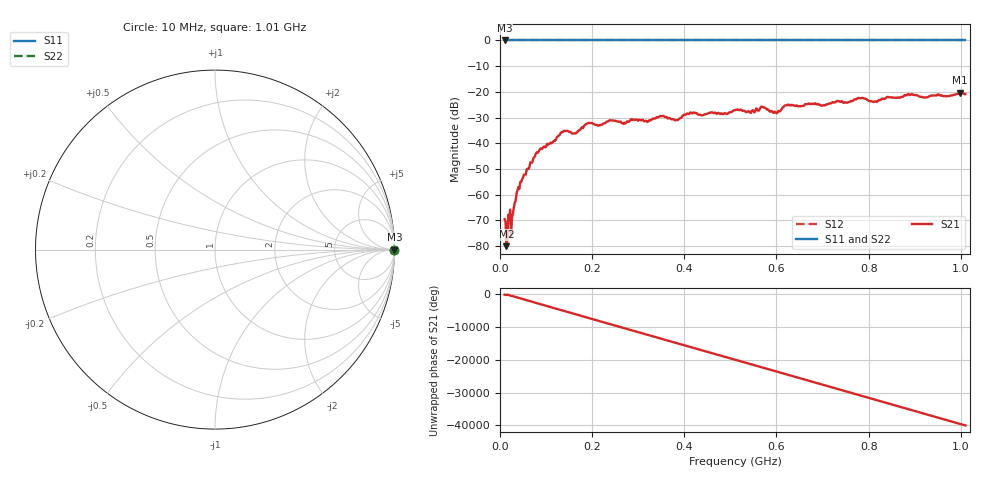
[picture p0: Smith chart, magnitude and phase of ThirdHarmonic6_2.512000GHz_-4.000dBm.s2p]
! 8/17/2025 4:53:15 AM
! C:\ANRITSUVNA\TEMP\TEMP.S2P
! CHANNEL.1
! TR.MEASUREMENT
! RAW.DATA
! RF.CORRECTION.OFF
! AVERAGING.OFF
! IF.BANDWIDTH: 5KHZ
! SWEEPTYPE:  FREQ.SWEEP(Linear)
! Reference Plane Port Info
! PORT:  PORT1  PORT2
! DISTANCE:  0  m  0  m
! TIME:  0  s  0  s
! PHASE.OFFSET:  0  deg.  0  deg.
! LOSS:  0  dB  0  dB
! REF.LOSS:  0  dB  0  dB
! REF.FREQ:  0  Hz  0  Hz
! Power Info
! POWER:  -20  dBm  -20  dBm
! EFF.POWER:  -20  dBm  -20  dBm
! SOURCE.ATTEN:  0  dB  0  dB
! TEST.ATTEN:  0  dB  0  dB
# GHZ S RI R 50.0
! FREQ.GHZ  S11RE  S11IM  S21RE  S21IM  S12RE  S12IM  S22RE  S22IM
!; PortSelection: Port_12
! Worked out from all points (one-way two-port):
!   501 points, 10 MHz to 1.01 GHz, reference 50 ohm
!   highest |S21| = -20.31 dB at 998 MHz (marker M1); lowest = -80.1 dB at 14 MHz (marker M2)
!   lowest |S11| = 0.0 dB at 10 MHz (marker M3)
!   |S11| at or under -10 dB: nowhere
!   |S22| runs from 0.0 to 0.0 dB; largest |S21 - S12| = 1.1
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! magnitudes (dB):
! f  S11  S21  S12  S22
! 10 MHz  0.0  -69.5  0.0  0.0
! 14 MHz  0.0  -80.1  0.0  0.0
! 28 MHz  0.0  -67.4  0.0  0.0
! 40 MHz  0.0  -57.1  0.0  0.0
! 76 MHz  0.0  -45.0  0.0  0.0
! 136 MHz  0.0  -35.7  0.0  0.0
! 160 MHz  0.0  -36.2  0.0  0.0
! 178 MHz  0.0  -33.8  0.0  0.0
! 194 MHz  0.0  -32.1  0.0  0.0
! 344 MHz  0.0  -29.9  0.0  0.0
! 384 MHz  0.0  -31.0  0.0  0.0
! 416 MHz  0.0  -28.3  0.0  0.0
! 510 MHz  0.0  -27.1  0.0  0.0
! 570 MHz  0.0  -25.8  0.0  0.0
! 598 MHz  0.0  -28.0  0.0  0.0
! 622 MHz  0.0  -25.3  0.0  0.0
! 678 MHz  0.0  -24.7  0.0  0.0
! 782 MHz  0.0  -22.5  0.0  0.0
! 814 MHz  0.0  -23.7  0.0  0.0
! 844 MHz  0.0  -22.1  0.0  0.0
! 998 MHz  0.0  -20.3  0.0  0.0
! 1.01 GHz  0.0  -20.9  0.0  0.0
